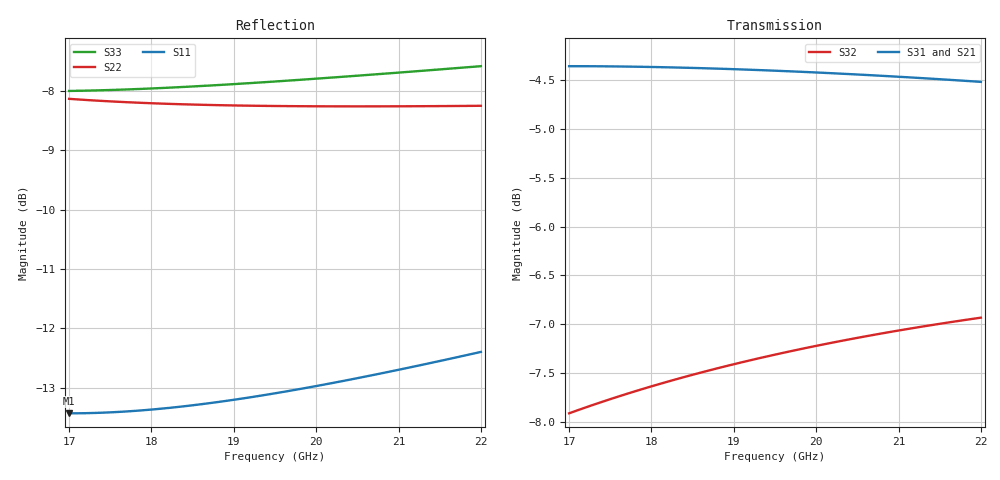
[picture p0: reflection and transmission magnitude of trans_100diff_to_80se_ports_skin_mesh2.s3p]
#  GHZ S DB R 50.0
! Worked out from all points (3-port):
!   51 points, 17 GHz to 22 GHz, reference 50 ohm
!   strongest paths, dB at 17 GHz, 18.2 GHz, 19.5 GHz, 20.8 GHz, 22 GHz:
!     S31: -4.4, -4.4, -4.4, -4.5, -4.5
!     S21: -4.5, -4.5, -4.5, -4.5, -4.5
!     S32: -7.9, -7.6, -7.3, -7.1, -6.9
!   lowest |S11| = -13.4 dB at 17 GHz (marker M1), VSWR 1.54, Z = 75.4 + j8.6 ohm
!   |S11| at or under -10 dB: start of sweep to end of sweep
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17  -13.43 14.8  -4.53 -173.9  -4.36 5.8
    -4.53 -173.9  -8.14 95.1  -7.91 72.8
    -4.36 5.8  -7.91 72.8  -8.00 92.1
17.3  -13.42 11.0  -4.51 -176.1  -4.36 3.8
      -4.51 -176.1  -8.16 92.2  -7.82 70.7
      -4.36 3.8  -7.82 70.7  -7.99 89.3
17.6  -13.41 7.3  -4.50 -178.2  -4.36 1.7
      -4.50 -178.2  -8.19 89.4  -7.74 68.7
      -4.36 1.7  -7.74 68.7  -7.98 86.6
18.2  -13.34 0.2  -4.48 177.7  -4.37 -2.2
      -4.48 177.7  -8.22 84.1  -7.59 64.9
      -4.37 -2.2  -7.59 64.9  -7.95 81.5
18.8  -13.24 -6.4  -4.47 173.6  -4.38 -6.0
      -4.47 173.6  -8.24 79.2  -7.45 61.3
      -4.38 -6.0  -7.45 61.3  -7.90 76.7
19.5  -13.09 -13.5  -4.46 169.1  -4.41 -10.3
      -4.46 169.1  -8.26 74.0  -7.31 57.2
      -4.41 -10.3  -7.31 57.2  -7.84 71.6
20.1  -12.94 -19.2  -4.45 165.4  -4.43 -13.8
      -4.45 165.4  -8.26 69.8  -7.20 53.9
      -4.43 -13.8  -7.20 53.9  -7.79 67.6
20.7  -12.78 -24.6  -4.45 161.7  -4.45 -17.3
      -4.45 161.7  -8.26 65.9  -7.11 50.7
      -4.45 -17.3  -7.11 50.7  -7.73 63.8
21.3  -12.61 -29.7  -4.45 158.1  -4.48 -20.6
      -4.45 158.1  -8.26 62.3  -7.02 47.7
      -4.48 -20.6  -7.02 47.7  -7.66 60.3
22  -12.40 -35.2  -4.46 154.1  -4.52 -24.5
    -4.46 154.1  -8.25 58.4  -6.93 44.2
    -4.52 -24.5  -6.93 44.2  -7.59 56.4
